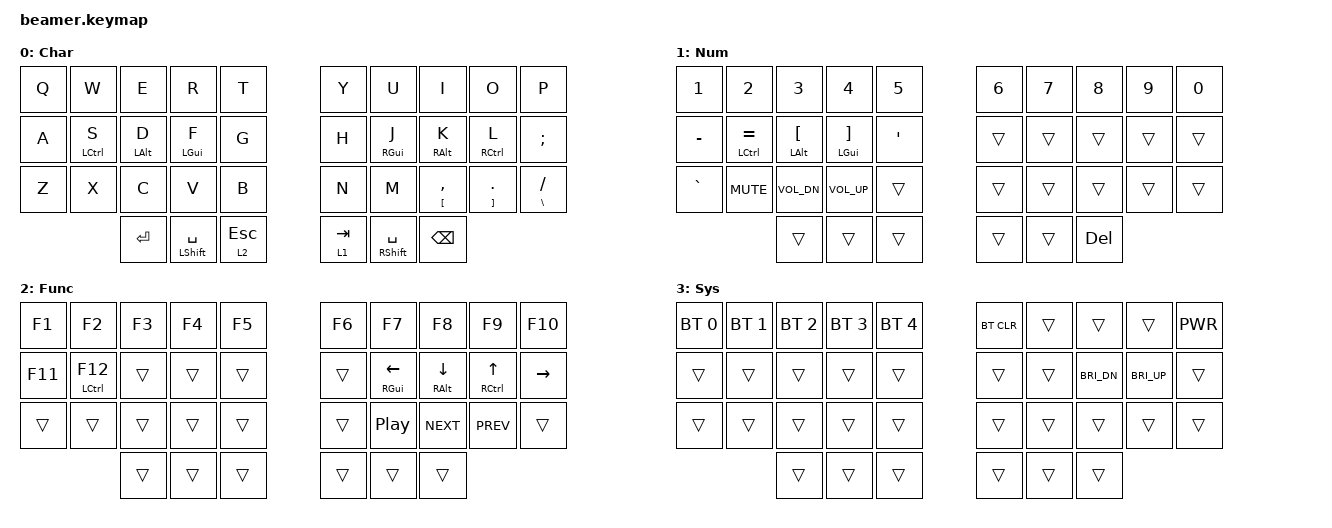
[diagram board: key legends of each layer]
/*
 * Copyright (c) 2020 The ZMK Contributors
 *
 * SPDX-License-Identifier: MIT
 */

#include <behaviors.dtsi>
#include <dt-bindings/zmk/keys.h>
#include <dt-bindings/zmk/bt.h>
// #include <dt-bindings/zmk/mouse.h>

&mt {
    flavor = "tap-preferred";
    tapping_term_ms = <200>;
};

/ {

  conditional_layers {
    compatible = "zmk,conditional-layers";
    tri_layer {
      if-layers = <1 2>;
      then-layer = <3>;
    };
  };

  behaviors {
    hm: homerow_mods {
      compatible = "zmk,behavior-hold-tap";
      label = "HOMEROW_MODS";
      #binding-cells = <2>;
      tapping-term-ms = <200>;
      quick_tap_ms = <0>;
      flavor = "tap-preferred";
      bindings = <&kp>, <&kp>;
    };
    td: tapdance {
      compatible = "zmk,behavior-hold-tap";
      label = "TAPDANCE";
      #binding-cells = <2>;
      tapping-term-ms = <200>;
      quick_tap_ms = <0>;
      flavor = "tap-preferred";
      bindings = <&kp>, <&kp>;
    };
  };

  keymap {
    compatible = "zmk,keymap";

    default_layer {
      label = "Char";
      bindings = <
        &kp Q &kp W       &kp E      &kp R            &kp T           &kp Y     &kp U            &kp I          &kp O        &kp P
        &kp A &hm LCTRL S &hm LALT D &hm LGUI F       &kp G           &kp H     &hm RGUI J       &hm RALT K     &hm RCTRL L  &kp SEMI
        &kp Z &kp X       &kp C      &kp V            &kp B           &kp N     &kp M            &td LBKT COMMA &td RBKT DOT &td BSLH FSLH
                          &kp RET    &mt LSHIFT SPACE &lt 2 ESC       &lt 1 TAB &mt RSHIFT SPACE &kp BSPC
      >;
    };

    layer_1 {
      label = "Num";
      bindings = <
        &kp N1    &kp N2          &kp N3        &kp N4        &kp N5        &kp N6 &kp N7 &kp N8 &kp N9 &kp N0
        &kp MINUS &hm LCTRL EQUAL &hm LALT LBKT &hm LGUI RBKT &kp APOS      &trans &trans &trans &trans &trans
        &kp GRAVE &kp K_MUTE      &kp C_VOL_DN  &kp C_VOL_UP  &trans        &trans &trans &trans &trans &trans
                                  &trans        &trans        &trans        &trans &trans &kp DEL
      >;
    };

    layer_2 {
      label = "Func";
      bindings = <
        &kp F1  &kp F2        &kp F3 &kp F4 &kp F5       &kp F6 &kp F7        &kp F8        &kp F9       &kp F10
        &kp F11 &hm LCTRL F12 &trans &trans &trans       &trans &hm RGUI LEFT &hm RALT DOWN &hm RCTRL UP &kp RIGHT
        &trans  &trans        &trans &trans &trans       &trans &kp C_PP      &kp C_NEXT    &kp C_PREV   &trans
                              &trans &trans &trans       &trans &trans        &trans
      >;
    };

    layer_3 {
      label = "Sys";
      bindings = <
        &bt BT_SEL 0 &bt BT_SEL 1 &bt BT_SEL 2 &bt BT_SEL 3 &bt BT_SEL 4     &bt BT_CLR &trans &trans       &trans       &kp C_PWR
        &trans       &trans       &trans       &trans       &trans           &trans     &trans &kp C_BRI_DN &kp C_BRI_UP &trans
        &trans       &trans       &trans       &trans       &trans           &trans     &trans &trans       &trans       &trans
                                  &trans       &trans       &trans           &trans     &trans &trans
      >;
    };

  };
};
